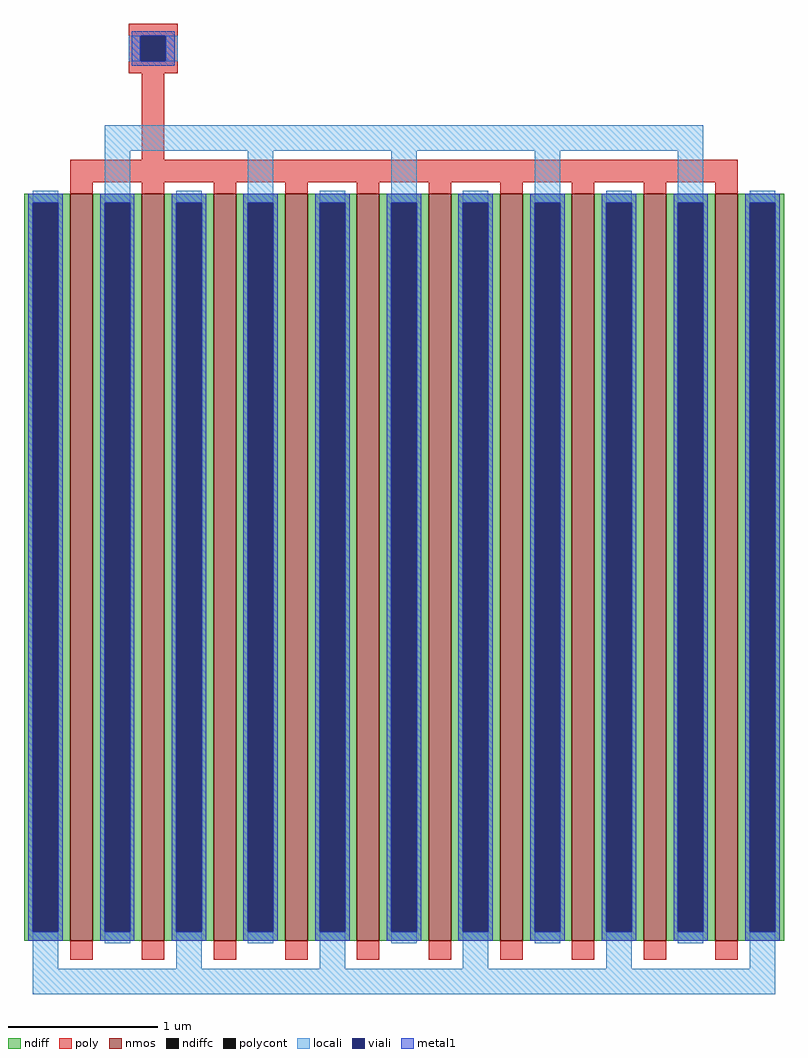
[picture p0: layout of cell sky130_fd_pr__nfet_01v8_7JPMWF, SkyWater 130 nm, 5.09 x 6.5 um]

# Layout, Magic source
magic
tech sky130A
magscale 1 2
<< nmos >>
rect -447 -500 -417 500
rect -351 -500 -321 500
rect -255 -500 -225 500
rect -159 -500 -129 500
rect -63 -500 -33 500
rect 33 -500 63 500
rect 129 -500 159 500
rect 225 -500 255 500
rect 321 -500 351 500
rect 417 -500 447 500
<< ndiff >>
rect -509 488 -447 500
rect -509 -488 -497 488
rect -463 -488 -447 488
rect -509 -500 -447 -488
rect -417 488 -351 500
rect -417 -488 -401 488
rect -367 -488 -351 488
rect -417 -500 -351 -488
rect -321 488 -255 500
rect -321 -488 -305 488
rect -271 -488 -255 488
rect -321 -500 -255 -488
rect -225 488 -159 500
rect -225 -488 -209 488
rect -175 -488 -159 488
rect -225 -500 -159 -488
rect -129 488 -63 500
rect -129 -488 -113 488
rect -79 -488 -63 488
rect -129 -500 -63 -488
rect -33 488 33 500
rect -33 -488 -17 488
rect 17 -488 33 488
rect -33 -500 33 -488
rect 63 488 129 500
rect 63 -488 79 488
rect 113 -488 129 488
rect 63 -500 129 -488
rect 159 488 225 500
rect 159 -488 175 488
rect 209 -488 225 488
rect 159 -500 225 -488
rect 255 488 321 500
rect 255 -488 271 488
rect 305 -488 321 488
rect 255 -500 321 -488
rect 351 488 417 500
rect 351 -488 367 488
rect 401 -488 417 488
rect 351 -500 417 -488
rect 447 488 509 500
rect 447 -488 463 488
rect 497 -488 509 488
rect 447 -500 509 -488
<< ndiffc >>
rect -497 -488 -463 488
rect -401 -488 -367 488
rect -305 -488 -271 488
rect -209 -488 -175 488
rect -113 -488 -79 488
rect -17 -488 17 488
rect 79 -488 113 488
rect 175 -488 209 488
rect 271 -488 305 488
rect 367 -488 401 488
rect 463 -488 497 488
<< poly >>
rect -369 712 -303 728
rect -369 678 -353 712
rect -319 678 -303 712
rect -369 662 -303 678
rect -351 546 -321 662
rect -447 516 447 546
rect -447 500 -417 516
rect -351 500 -321 516
rect -255 500 -225 516
rect -159 500 -129 516
rect -63 500 -33 516
rect 33 500 63 516
rect 129 500 159 516
rect 225 500 255 516
rect 321 500 351 516
rect 417 500 447 516
rect -447 -526 -417 -500
rect -351 -526 -321 -500
rect -255 -526 -225 -500
rect -159 -526 -129 -500
rect -63 -526 -33 -500
rect 33 -526 63 -500
rect 129 -526 159 -500
rect 225 -526 255 -500
rect 321 -526 351 -500
rect 417 -526 447 -500
<< polycont >>
rect -353 678 -319 712
<< locali >>
rect -369 678 -353 712
rect -319 678 -303 712
rect -401 558 401 592
rect -497 488 -463 504
rect -497 -538 -463 -488
rect -401 488 -367 558
rect -401 -504 -367 -488
rect -305 488 -271 504
rect -305 -538 -271 -488
rect -209 488 -175 558
rect -209 -504 -175 -488
rect -113 488 -79 504
rect -113 -538 -79 -488
rect -17 488 17 558
rect -17 -504 17 -488
rect 79 488 113 504
rect 79 -538 113 -488
rect 175 488 209 558
rect 175 -504 209 -488
rect 271 488 305 504
rect 271 -538 305 -488
rect 367 488 401 558
rect 367 -504 401 -488
rect 463 488 497 504
rect 463 -538 497 -488
rect -497 -572 497 -538
<< viali >>
rect -353 678 -319 712
rect -497 -488 -463 488
rect -401 -488 -367 488
rect -305 -488 -271 488
rect -209 -488 -175 488
rect -113 -488 -79 488
rect -17 -488 17 488
rect 79 -488 113 488
rect 175 -488 209 488
rect 271 -488 305 488
rect 367 -488 401 488
rect 463 -488 497 488
<< metal1 >>
rect -365 712 -307 718
rect -365 678 -353 712
rect -319 678 -307 712
rect -365 672 -307 678
rect -503 488 -457 500
rect -503 -488 -497 488
rect -463 -488 -457 488
rect -503 -500 -457 -488
rect -407 488 -361 500
rect -407 -488 -401 488
rect -367 -488 -361 488
rect -407 -500 -361 -488
rect -311 488 -265 500
rect -311 -488 -305 488
rect -271 -488 -265 488
rect -311 -500 -265 -488
rect -215 488 -169 500
rect -215 -488 -209 488
rect -175 -488 -169 488
rect -215 -500 -169 -488
rect -119 488 -73 500
rect -119 -488 -113 488
rect -79 -488 -73 488
rect -119 -500 -73 -488
rect -23 488 23 500
rect -23 -488 -17 488
rect 17 -488 23 488
rect -23 -500 23 -488
rect 73 488 119 500
rect 73 -488 79 488
rect 113 -488 119 488
rect 73 -500 119 -488
rect 169 488 215 500
rect 169 -488 175 488
rect 209 -488 215 488
rect 169 -500 215 -488
rect 265 488 311 500
rect 265 -488 271 488
rect 305 -488 311 488
rect 265 -500 311 -488
rect 361 488 407 500
rect 361 -488 367 488
rect 401 -488 407 488
rect 361 -500 407 -488
rect 457 488 503 500
rect 457 -488 463 488
rect 497 -488 503 488
rect 457 -500 503 -488
<< properties >>
string gencell sky130_fd_pr__nfet_01v8
string parameters w 5 l 0.150 m 1 nf 10 diffcov 100 polycov 100 guard 0 glc 0 grc 0 gtc 0 gbc 0 tbcov 100 rlcov 100 topc 1 botc 0 poverlap 0 doverlap 1 lmin 0.15 wmin 0.42 compatible {sky130_fd_pr__nfet_01v8 sky130_fd_pr__nfet_01v8_lvt  sky130_fd_bs_flash__special_sonosfet_star  sky130_fd_pr__nfet_g5v0d10v5 sky130_fd_pr__nfet_05v0_nvt  sky130_fd_pr__nfet_03v3_nvt} full_metal 0 viasrc 100 viadrn 100 viagate 100 viagb 0 viagr 0 viagl 0 viagt 0
string library sky130
<< end >>
